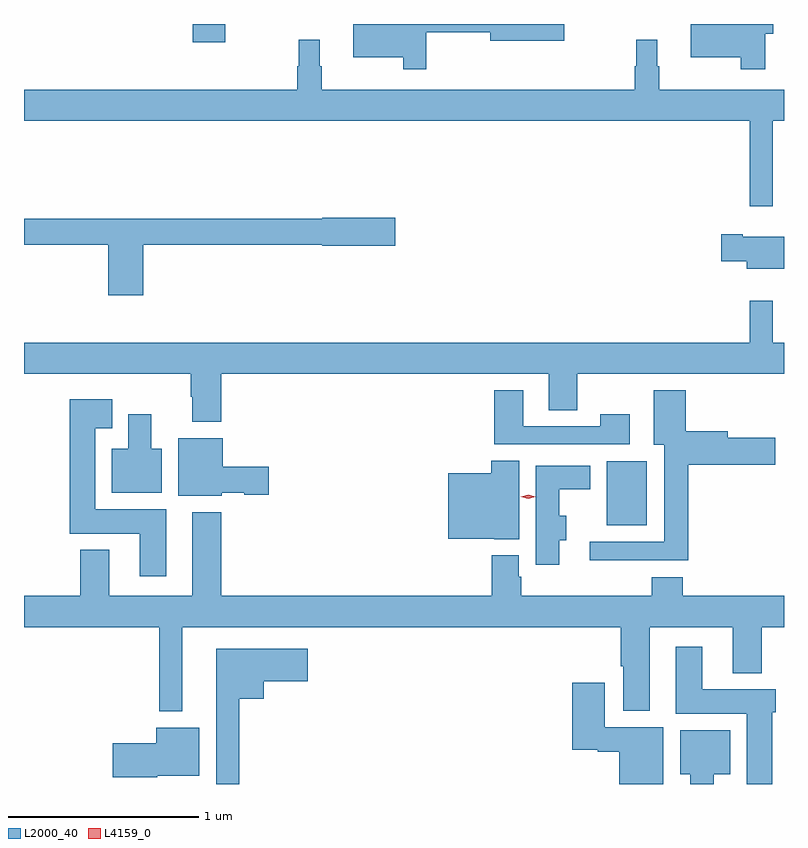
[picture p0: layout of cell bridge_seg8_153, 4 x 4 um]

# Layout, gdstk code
import gdstk
lib = gdstk.Library(unit=1e-6, precision=1e-09)
def R(c, l, rs):  # rectangles x0, y0, x1, y1
    for r in rs: c.add(gdstk.rectangle(r[:2], r[2:], *l))
def P(c, l, *ps):  # polygons
    for p in ps: c.add(gdstk.Polygon(p, *l))
L2000_40 = (2000, 40)
L4159_0 = (4159, 0)

bridge_seg8_153 = lib.new_cell('bridge_seg8_153')
R(bridge_seg8_153, L2000_40, [(612.62,1125.029,612.832,1125.364), (610.442,1127.571,610.612,1127.666)])
P(bridge_seg8_153, L2000_40, [(611.671,1127.622),(612.008,1127.622),(612.008,1127.579),(612.397,1127.579),(612.397,1127.666),(611.288,1127.666),(611.288,1127.492),(611.55,1127.492),(611.55,1127.427),(611.671,1127.427)],
  [(613.454,1127.614),(613.498,1127.614),(613.498,1127.666),(613.064,1127.666),(613.064,1127.492),(613.326,1127.492),(613.326,1127.427),(613.454,1127.427)],
  [(613.495,1127.156),(613.554,1127.156),(613.554,1127.32),(612.898,1127.32),(612.898,1127.444),(612.886,1127.444),(612.886,1127.584),(612.777,1127.584),(612.777,1127.444),(612.769,1127.444),(612.769,1127.32),(611.122,1127.32),(611.122,1127.444),(611.11,1127.444),(611.11,1127.584),(611.001,1127.584),(611.001,1127.444),(610.993,1127.444),(610.993,1127.32),(609.554,1127.32),(609.554,1127.156),(613.374,1127.156),(613.374,1126.707),(613.495,1126.707)],
  [(610.181,1126.504),(611.124,1126.504),(611.124,1126.499),(611.509,1126.499),(611.509,1126.646),(611.124,1126.646),(611.124,1126.64),(609.554,1126.64),(609.554,1126.504),(609.998,1126.504),(609.998,1126.239),(610.181,1126.239)],
  [(613.554,1126.546),(613.336,1126.546),(613.336,1126.559),(613.224,1126.559),(613.224,1126.417),(613.358,1126.417),(613.358,1126.379),(613.554,1126.379)],
  [(610.592,1125.824),(612.317,1125.824),(612.317,1125.634),(612.465,1125.634),(612.465,1125.824),(613.554,1125.824),(613.554,1125.988),(613.495,1125.988),(613.495,1126.21),(613.374,1126.21),(613.374,1125.988),(609.554,1125.988),(609.554,1125.824),(610.432,1125.824),(610.432,1125.704),(610.439,1125.704),(610.439,1125.572),(610.592,1125.572)],
  [(612.742,1125.613),(612.586,1125.613),(612.586,1125.549),(612.181,1125.549),(612.181,1125.739),(612.029,1125.739),(612.029,1125.453),(612.742,1125.453)],
  [(613.049,1125.347),(613.507,1125.347),(613.507,1125.489),(613.258,1125.489),(613.258,1125.523),(613.036,1125.523),(613.036,1125.739),(612.869,1125.739),(612.869,1125.452),(612.923,1125.452),(612.923,1124.94),(612.531,1124.94),(612.531,1124.843),(613.049,1124.843)],
  [(610.303,1125.112),(609.928,1125.112),(609.928,1125.539),(610.018,1125.539),(610.018,1125.691),(609.794,1125.691),(609.794,1124.984),(610.163,1124.984),(610.163,1124.76),(610.303,1124.76)],
  [(610.279,1125.43),(610.225,1125.43),(610.225,1125.613),(610.103,1125.613),(610.103,1125.43),(610.016,1125.43),(610.016,1125.2),(610.279,1125.2)],
  [(610.596,1125.2),(610.713,1125.2),(610.713,1125.188),(610.843,1125.188),(610.843,1125.335),(610.6,1125.335),(610.6,1125.487),(610.367,1125.487),(610.367,1125.182),(610.596,1125.182)],
  [(612.16,1125.368),(612.014,1125.368),(612.014,1125.301),(611.786,1125.301),(611.786,1124.957),(612.03,1124.957),(612.03,1124.954),(612.16,1124.954)],
  [(612.37,1124.95),(612.409,1124.95),(612.409,1125.079),(612.37,1125.079),(612.37,1125.218),(612.535,1125.218),(612.535,1125.34),(612.248,1125.34),(612.248,1124.82),(612.37,1124.82)],
  [(610.387,1124.492),(612.695,1124.492),(612.695,1124.287),(612.707,1124.287),(612.707,1124.051),(612.847,1124.051),(612.847,1124.492),(613.283,1124.492),(613.283,1124.249),(613.436,1124.249),(613.436,1124.492),(613.554,1124.492),(613.554,1124.656),(613.022,1124.656),(613.022,1124.755),(612.857,1124.755),(612.857,1124.656),(612.17,1124.656),(612.17,1124.757),(612.157,1124.757),(612.157,1124.869),(612.017,1124.869),(612.017,1124.656),(610.592,1124.656),(610.592,1125.097),(610.439,1125.097),(610.439,1124.656),(610.003,1124.656),(610.003,1124.899),(609.851,1124.899),(609.851,1124.656),(609.554,1124.656),(609.554,1124.492),(610.266,1124.492),(610.266,1124.048),(610.387,1124.048)],
  [(613.493,1124.043),(613.511,1124.043),(613.511,1124.164),(613.123,1124.164),(613.123,1124.389),(612.983,1124.389),(612.983,1124.036),(613.358,1124.036),(613.358,1123.666),(613.493,1123.666)],
  [(610.687,1124.114),(610.816,1124.114),(610.816,1124.207),(611.047,1124.207),(611.047,1124.377),(610.565,1124.377),(610.565,1123.666),(610.687,1123.666)],
  [(612.919,1123.966),(612.61,1123.966),(612.61,1124.2),(612.44,1124.2),(612.44,1123.847),(612.573,1123.847),(612.573,1123.835),(612.686,1123.835),(612.686,1123.666),(612.919,1123.666)],
  [(610.254,1123.709),(610.477,1123.709),(610.477,1123.963),(610.25,1123.963),(610.25,1123.88),(610.02,1123.88),(610.02,1123.702),(610.254,1123.702)],
  [(613.183,1123.718),(613.27,1123.718),(613.27,1123.948),(613.007,1123.948),(613.007,1123.718),(613.061,1123.718),(613.061,1123.666),(613.183,1123.666)])
P(bridge_seg8_153, L4159_0, [(612.208,1125.168),(612.168,1125.177),(612.168,1125.177),(612.168,1125.177),(612.208,1125.188),(612.248,1125.179),(612.248,1125.179),(612.248,1125.179)])

lib.write_gds('bridge_seg8_153.gds')
